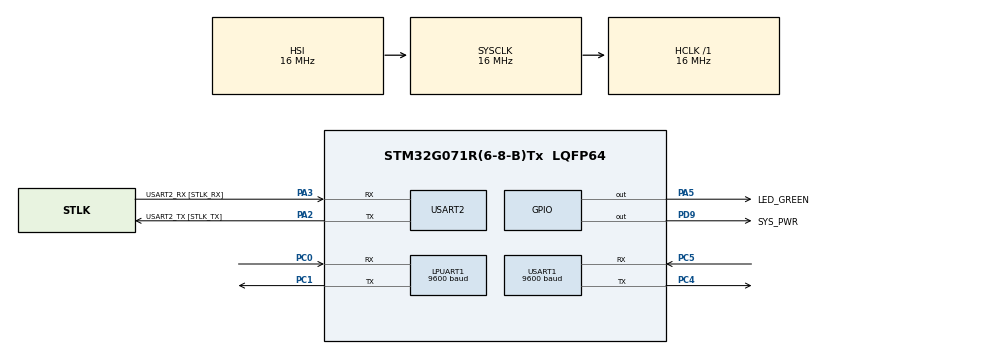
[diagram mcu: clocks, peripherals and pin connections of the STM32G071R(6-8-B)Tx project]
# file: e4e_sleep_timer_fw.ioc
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Dma.LPUART1_RX.0.Direction=DMA_PERIPH_TO_MEMORY
Dma.LPUART1_RX.0.EventEnable=DISABLE
Dma.LPUART1_RX.0.Instance=DMA1_Channel1
Dma.LPUART1_RX.0.MemDataAlignment=DMA_MDATAALIGN_BYTE
Dma.LPUART1_RX.0.MemInc=DMA_MINC_ENABLE
Dma.LPUART1_RX.0.Mode=DMA_CIRCULAR
Dma.LPUART1_RX.0.PeriphDataAlignment=DMA_PDATAALIGN_BYTE
Dma.LPUART1_RX.0.PeriphInc=DMA_PINC_DISABLE
Dma.LPUART1_RX.0.Polarity=HAL_DMAMUX_REQ_GEN_RISING
Dma.LPUART1_RX.0.Priority=DMA_PRIORITY_LOW
Dma.LPUART1_RX.0.RequestNumber=1
Dma.LPUART1_RX.0.SignalID=NONE
Dma.LPUART1_RX.0.SyncEnable=DISABLE
Dma.LPUART1_RX.0.SyncPolarity=HAL_DMAMUX_SYNC_NO_EVENT
Dma.LPUART1_RX.0.SyncRequestNumber=1
Dma.LPUART1_RX.0.SyncSignalID=NONE
Dma.Request0=LPUART1_RX
Dma.Request1=USART1_RX
Dma.USART1_RX.1.Direction=DMA_PERIPH_TO_MEMORY
Dma.USART1_RX.1.EventEnable=DISABLE
Dma.USART1_RX.1.Instance=DMA1_Channel2
Dma.USART1_RX.1.MemDataAlignment=DMA_MDATAALIGN_BYTE
Dma.USART1_RX.1.MemInc=DMA_MINC_ENABLE
Dma.USART1_RX.1.Mode=DMA_CIRCULAR
Dma.USART1_RX.1.PeriphDataAlignment=DMA_PDATAALIGN_BYTE
Dma.USART1_RX.1.PeriphInc=DMA_PINC_DISABLE
Dma.USART1_RX.1.Polarity=HAL_DMAMUX_REQ_GEN_RISING
Dma.USART1_RX.1.Priority=DMA_PRIORITY_LOW
Dma.USART1_RX.1.RequestNumber=1
Dma.USART1_RX.1.SignalID=NONE
Dma.USART1_RX.1.SyncEnable=DISABLE
Dma.USART1_RX.1.SyncPolarity=HAL_DMAMUX_SYNC_NO_EVENT
Dma.USART1_RX.1.SyncRequestNumber=1
Dma.USART1_RX.1.SyncSignalID=NONE
LPTIM1.ClockPrescaler=LPTIM_PRESCALER_DIV128
LPUART1.BaudRate=9600
LPUART1.WordLength=UART_WORDLENGTH_8B
Mcu.Family=STM32G0
Mcu.Name=STM32G071R(6-8-B)Tx
Mcu.Package=LQFP64
NVIC.DMA1_Channel1_IRQn=true\:0\:0\:false\:false\:true\:false\:true\:true
NVIC.DMA1_Channel2_3_IRQn=true\:0\:0\:false\:false\:true\:false\:true\:true
NVIC.RTC_TAMP_IRQn=true\:0\:0\:false\:false\:true\:true\:true\:true
NVIC.USART1_IRQn=true\:0\:0\:false\:false\:true\:true\:true\:true
NVIC.USART3_4_LPUART1_IRQn=true\:0\:0\:false\:false\:true\:true\:true\:true
PA13.GPIO_Label=TMS
PA13.Mode=Serial_Wire
PA13.Signal=SYS_SWDIO
PA14-BOOT0.GPIO_Label=TCK
PA14-BOOT0.Mode=Serial_Wire
PA14-BOOT0.Signal=SYS_SWCLK
PA2.GPIO_Label=USART2_TX [STLK_TX]
PA2.GPIO_PuPd=GPIO_PULLUP
PA2.Mode=Asynchronous
PA2.Signal=USART2_TX
PA3.GPIO_Label=USART2_RX [STLK_RX]
PA3.GPIO_PuPd=GPIO_PULLUP
PA3.Mode=Asynchronous
PA3.Signal=USART2_RX
PA5.GPIO_Label=LED_GREEN
PA5.GPIO_Speed=GPIO_SPEED_FREQ_HIGH
PA5.Signal=GPIO_Output
PC0.Mode=Asynchronous
PC0.Signal=LPUART1_RX
PC1.Mode=Asynchronous
PC1.Signal=LPUART1_TX
PC13.Mode=SYS_WakeUp1
PC13.Signal=SYS_WKUP2
PC14-OSC32_IN\ (PC14).Mode=LSE-External-Oscillator
PC14-OSC32_IN\ (PC14).Signal=RCC_OSC32_IN
PC15-OSC32_OUT\ (PC15).Mode=LSE-External-Oscillator
PC15-OSC32_OUT\ (PC15).Signal=RCC_OSC32_OUT
PC4.Mode=Asynchronous
PC4.Signal=USART1_TX
PC5.Mode=Asynchronous
PC5.Signal=USART1_RX
PD9.GPIO_Label=SYS_PWR
PD9.Signal=GPIO_Output
PF0-OSC_IN\ (PF0).GPIO_Label=MCO
PF0-OSC_IN\ (PF0).Mode=HSE-External-Clock-Source
PF0-OSC_IN\ (PF0).Signal=RCC_OSC_IN
ProjectManager.HeapSize=0x200
ProjectManager.StackSize=0x400
ProjectManager.TargetToolchain=STM32CubeIDE
RCC.AHBFreq_Value=16000000
RCC.CortexFreq_Value=16000000
RCC.EXTERNAL_CLOCK_VALUE=12288000
RCC.HCLKFreq_Value=16000000
RCC.HSE_VALUE=8000000
RCC.HSI_VALUE=16000000
RCC.PWR_Regulator_Voltage_Scale=PWR_REGULATOR_VOLTAGE_SCALE2
RCC.RTCClockSelection=RCC_RTCCLKSOURCE_LSE
RCC.SYSCLKFreq_VALUE=16000000
RCC.VCOOutputFreq_Value=128000000
RTC.Alarm-Alarm\ A=RTC_ALARM_A
RTC.Format=RTC_FORMAT_BIN
USART1.BaudRate=9600
USART1.VirtualMode-Asynchronous=VM_ASYNC
USART2.VirtualMode-Asynchronous=VM_ASYNC
VP_LPTIM1_VS_LPTIM_counterModeInternalClock.Mode=Counts__internal_clock_event_00
VP_RTC_VS_RTC_Activate.Mode=RTC_Enabled
VP_RTC_VS_RTC_Alarm_A_Intern.Mode=Alarm A
VP_RTC_VS_RTC_Calendar.Mode=RTC_Calendar
VP_SYS_VS_DBSignals.Mode=DisableDeadBatterySignals
board=NUCLEO-G071RB

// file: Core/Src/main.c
/* USER CODE BEGIN Header */
/**
  ******************************************************************************
  * @file           : main.c
  * @brief          : Main program body
  ******************************************************************************
  * @attention
  *
  * Copyright (c) 2022 STMicroelectronics.
  * All rights reserved.
  *
  * This software is licensed under terms that can be found in the LICENSE file
  * in the root directory of this software component.
  * If no LICENSE file comes with this software, it is provided AS-IS.
  *
  ******************************************************************************
  */
/* USER CODE END Header */
#include "main.h"
#include "dma.h"
#include "lptim.h"
#include "usart.h"
#include "rtc.h"
#include "gpio.h"

/* USER CODE BEGIN Includes */
#include <product.h>
#include <E4E_HAL_System.h>
#include <e4e_common.h>
#include <E4E_ST_App.h>
#include <stm32g0xx.h>
#include <parser.h>
#include <callbacks.h>
/* USER CODE END Includes */

/* USER CODE BEGIN PV */
E4E_ST_AppDesc_t app;
/* USER CODE END PV */

void SystemClock_Config(void);

int main(void)
{
  /* USER CODE BEGIN 1 */
  E4E_ST_AppConfig_t appConfig;
  /* USER CODE END 1 */

  /* MCU Configuration--------------------------------------------------------*/

  /* Reset of all peripherals, Initializes the Flash interface and the Systick. */
  HAL_Init();

  /* Configure the system clock */
  SystemClock_Config();

  /* Initialize all configured peripherals */
  MX_GPIO_Init();
  MX_USART2_UART_Init();
  MX_LPTIM1_Init();

  // MX_DMA_Init enables DMA clock and UART_init enables DMA channels, need to initialize DMA first
  MX_DMA_Init();
  MX_LPUART1_UART_Init();
  MX_USART1_UART_Init();
  MX_RTC_Init();
  /* USER CODE BEGIN 2 */

  int64_t currTime = 0;

  if(E4E_ERROR == E4E_HAL_System_init())
  {
	  while(0)
	  {

	  }
  }

  // Initialize parser
  E4E_HAL_PwrCtrl_setState(&pHalSystem->onboardComputerDesc, E4E_HAL_PWRCTRL_State_ON);
  E4E_BinaryPacket_registerCallback(E4E_BinaryPacket_CMD_SET_ALARM, setAlarmCallback);
  E4E_BinaryPacket_registerCallback(E4E_BinaryPacket_CMD_GET_TIME, getTimeCallback);
  E4E_BinaryPacket_registerCallback(E4E_BinaryPacket_CMD_CLEAR_ALARM, clearAlarmCallback);
  E4E_HAL_RTC_registerAlarmCallback(&pHalSystem->rtcDesc, E4E_App_AlarmExecuteCallback, NULL);
  /* USER CODE END 2 */

  /* Infinite loop */
  while (1)
  {

    /* USER CODE BEGIN 3 */
#if E4E_APPLICATION_LOGIC == MAIN_APP_LOGIC
#if 0
	  if(E4E_ERROR == E4E_ST_App_init(&app, &appConfig))
	  {
		  while(1)
		  {
			  ;
		  }
	  }

	  while(1)
	  {
		  E4E_ST_App_run(&app);
	  }
#endif
	  uint8_t nextInputByte;

	  while(1)
	  {
		  if(E4E_ERROR == E4E_HAL_Serial_read(&pHalSystem->debugSerialDesc, &nextInputByte, 1, UINT32_MAX))
		  {
			  // Reset the parser
			  E4E_BinaryPacket_reset();
			  E4E_HAL_Serial_flush(&pHalSystem->debugSerialDesc);
			  continue;
		  }

		  if(E4E_ERROR == parse(nextInputByte))
		  {
			  // Reset the parser
			  E4E_BinaryPacket_reset();
		  }
	  }
#elif E4E_APPLICATION_LOGIC == SERIAL_DEBUG_LOGIC
	  // debug logic
#elif E4E_APPLICATION_LOGIC == RTC_DEBUG_LOGIC
	  // debug logic
	  E4E_HAL_RTC_getTime(&pHalSystem->rtcDesc, &currTime);
	  HAL_Delay(500);

#elif E4E_APPLICATION_LOGIC == PWR_CTRL_DEBUG_LOGIC
	  // debug logic
#elif E4E_APPLICATION_LOGIC == CMD_DEBUG_LOGIC
	  // debug logic
#elif E4E_APPLICATION_LOGIC == APP_DEBUG_LOGIC
	  // debug logic
#elif E4E_APPLICATION_LOGIC == DEBUG_APP_LOGIC
	  E4E_DebugApp();
#elif E4E_APPLICATION_LOGIC == ECHO_APP_LOGIC
	  uint8_t nextInputByte;
	  while(1)
	  {
		  if(E4E_ERROR == E4E_HAL_Serial_read(&pHalSystem->debugSerialDesc, &nextInputByte, 1, UINT32_MAX))
		  {
			  E4E_HAL_Serial_flush(&pHalSystem->debugSerialDesc);
			  continue;
		  }
		  if(E4E_ERROR == E4E_HAL_Serial_write(&pHalSystem->debugSerialDesc, &nextInputByte, 1, UINT32_MAX))
		  {
			  continue;
		  }
	  }
#endif
  }
  /* USER CODE END 3 */
}

void SystemClock_Config(void)
{
  RCC_OscInitTypeDef RCC_OscInitStruct = {0};
  RCC_ClkInitTypeDef RCC_ClkInitStruct = {0};

  /** Configure the main internal regulator output voltage
  */
  HAL_PWREx_ControlVoltageScaling(PWR_REGULATOR_VOLTAGE_SCALE2);

  /** Configure LSE Drive Capability
  */
  HAL_PWR_EnableBkUpAccess();
  __HAL_RCC_LSEDRIVE_CONFIG(RCC_LSEDRIVE_LOW);

  /** Initializes the RCC Oscillators according to the specified parameters
  * in the RCC_OscInitTypeDef structure.
  */
  RCC_OscInitStruct.OscillatorType = RCC_OSCILLATORTYPE_HSI|RCC_OSCILLATORTYPE_LSE;
  RCC_OscInitStruct.LSEState = RCC_LSE_ON;
  RCC_OscInitStruct.HSIState = RCC_HSI_ON;
  RCC_OscInitStruct.HSIDiv = RCC_HSI_DIV1;
  RCC_OscInitStruct.HSICalibrationValue = RCC_HSICALIBRATION_DEFAULT;
  RCC_OscInitStruct.PLL.PLLState = RCC_PLL_NONE;
  if (HAL_RCC_OscConfig(&RCC_OscInitStruct) != HAL_OK)
  {
    Error_Handler();
  }

  /** Initializes the CPU, AHB and APB buses clocks
  */
  RCC_ClkInitStruct.ClockType = RCC_CLOCKTYPE_HCLK|RCC_CLOCKTYPE_SYSCLK
                              |RCC_CLOCKTYPE_PCLK1;
  RCC_ClkInitStruct.SYSCLKSource = RCC_SYSCLKSOURCE_HSI;
  RCC_ClkInitStruct.AHBCLKDivider = RCC_SYSCLK_DIV1;
  RCC_ClkInitStruct.APB1CLKDivider = RCC_HCLK_DIV1;

  if (HAL_RCC_ClockConfig(&RCC_ClkInitStruct, FLASH_LATENCY_0) != HAL_OK)
  {
    Error_Handler();
  }
}

void Error_Handler(void)
{
  __disable_irq();
  while (1)
  {
  }
}
